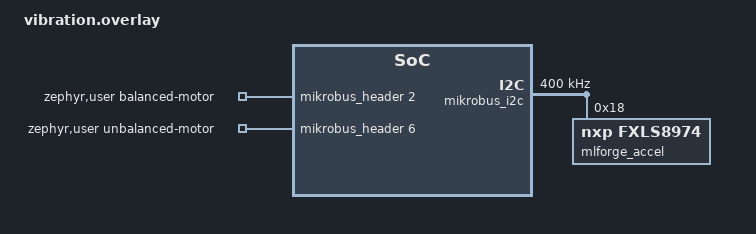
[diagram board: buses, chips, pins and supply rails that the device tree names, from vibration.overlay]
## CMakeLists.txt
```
# ZephyrMLForge TFLite Micro Application
# Based on TensorFlow Lite Micro hello_world sample structure
#
# The pipeline copies this tree per run and overwrites src/model.cpp, src/model.hpp
# and src/app_config.h. Nothing else differs between a pipeline build and a manual
# one, so a failure here reproduces with a plain west build.

cmake_minimum_required(VERSION 3.20.0)

find_package(Zephyr REQUIRED HINTS $ENV{ZEPHYR_BASE})
project(zephyr_ml_forge)

# TFLite Micro uses function-local statics that Zephyr cannot guard.
set(NO_THREADSAFE_STATICS $<TARGET_PROPERTY:compiler-cpp,no_threadsafe_statics>)
zephyr_compile_options($<$<COMPILE_LANGUAGE:CXX>:${NO_THREADSAFE_STATICS}>)

# Structure mirrors the TFLite Micro hello_world sample:
#   - main.c: Minimal entry point
#   - main_functions.cpp: Interpreter setup, benchmark and host request handling
#   - model.cpp: Compiled model data (generated from .tflite)
#   - output_handler.cpp: Metrics output for pipeline parsing
#   - vibration.cpp:  ML Vibro Sens Click support, empty unless
#     MLFORGE_VIBRATION is 1
target_sources(app PRIVATE
    src/main.c
    src/main_functions.cpp
    src/model.cpp
    src/output_handler.cpp
    src/vibration.cpp
)

target_include_directories(app PRIVATE
    src
)
```

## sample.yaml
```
sample:
  description: ZephyrMLForge TFLite Micro Inference Application
  name: zephyr-ml-forge inference
common:
  tags: tensorflow ml-forge
  modules:
    - tflite-micro
  harness: console
  harness_config:
    type: multi_line
    ordered: true
    regex:
      - "=== ZephyrMLForge inference ==="
      - "STATUS=ready"
      - "METRICS_START"
      - "latency_ms=.*"
      - "arena_used=.*"
      - "METRICS_END"
      - "Inference complete"
tests:
  sample.mlforge.inference:
    platform_allow:
      - qemu_x86
      - qemu_x86_64
    integration_platforms:
      - qemu_x86
    tags: tensorflow ml-forge
    filter: CONFIG_FULL_LIBC_SUPPORTED
  sample.mlforge.inference.cortex_m3:
    platform_allow:
      - qemu_cortex_m3
    tags: tensorflow ml-forge arm
    extra_configs:
      - CONFIG_FPU=n
```

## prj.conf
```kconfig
# ZephyrMLForge application configuration
# Single file: the application has no non-TFLite build, so there is no overlay.

# C++ support required by TFLite Micro
CONFIG_CPP=y
CONFIG_STD_CPP17=y
CONFIG_REQUIRES_FULL_LIBC=y

CONFIG_TENSORFLOW_LITE_MICRO=y

# ARM-optimized kernels. Convolution through the reference kernels is several times
# slower, which turns a usable model into one that breaches its latency budget.
CONFIG_TENSORFLOW_LITE_MICRO_CMSIS_NN_KERNELS=y

# Interpreter setup needs a deeper stack than the Zephyr default
CONFIG_MAIN_STACK_SIZE=8192
CONFIG_HEAP_MEM_POOL_SIZE=32768

# Console output parsed by the pipeline
CONFIG_CONSOLE=y
CONFIG_UART_CONSOLE=y
CONFIG_SERIAL=y
CONFIG_PRINTK=y

# Both are needed: REQUIRES_FLOAT_PRINTF covers the libc printf, while printk goes
# through cbprintf, which prints every %f as 0.000000 without its own switch.
CONFIG_REQUIRES_FLOAT_PRINTF=y
CONFIG_CBPRINTF_FP_SUPPORT=y

# console_getline() for the host evaluation protocol; the getline path is
# interrupt-driven and silently returns nothing without the UART IRQ support.
CONFIG_CONSOLE_SUBSYS=y
CONFIG_CONSOLE_GETLINE=y
CONFIG_UART_INTERRUPT_DRIVEN=y

#  Lines past 255 characters wrap whatever this is set to, because
# uart_console.c indexes the line with a uint8_t, so the host sends long inputs as LOAD
# lines below that length. 256 holds the longest line it sends.
CONFIG_CONSOLE_INPUT_MAX_LINE_LEN=256

# timing_counter_get() for the latency measurement
CONFIG_TIMING_FUNCTIONS=y

# The NXP Neutron blobs are compiled hard-float, and linking them against a
# soft-float image fails with 'uses VFP register arguments'. Enabled for every build
# rather than only the NPU one, so that a CPU and an NPU measurement differ by the
# accelerator alone. Boards without an FPU ignore it.
CONFIG_FPU=y
```

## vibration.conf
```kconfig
#  ML Vibro Sens Click support, added to prj.conf with vibration.overlay.
# The FXLS8974 driver is enabled by the overlay's devicetree node.
CONFIG_GPIO=y
CONFIG_I2C=y
CONFIG_SENSOR=y
```

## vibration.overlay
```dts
/*
 * Copyright (c) 2024 ZephyrMLForge
 * SPDX-License-Identifier: Apache-2.0
 *
 *  ML Vibro Sens Click on the mikroBUS socket of an FRDM-MCXN947. Pin
 * numbers follow the board's mikrobus_header map: 2 is CS, 6 is PWM.
 */

/ {
	zephyr,user {
		balanced-motor-gpios = <&mikrobus_header 2 GPIO_ACTIVE_HIGH>;
		unbalanced-motor-gpios = <&mikrobus_header 6 GPIO_ACTIVE_HIGH>;
	};
};

&mikrobus_i2c {
	status = "okay";
	/*  Each sample is two transfers; at the board's default 100 kHz they
	 * take about a millisecond, the whole period at 1 kHz. */
	clock-frequency = <I2C_BITRATE_FAST>;

	mlforge_accel: fxls8974@18 {
		compatible = "nxp,fxls8974";
		reg = <0x18>;
		/*  At +-2 g about a tenth of the unbalanced motor's samples clip.
		 * The driver ignores this property; vibration.cpp applies it. */
		range = <8>;
	};
};

/*  SAI1 muxes P3_19, the mikroBUS PWM pin, as SAI1_RX_FS, which would
 * leave the unbalanced motor unreachable. This application uses no audio. */
&sai1 {
	status = "disabled";
};
```

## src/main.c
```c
/*
 * Copyright (c) 2024 ZephyrMLForge
 * SPDX-License-Identifier: Apache-2.0
 *
 * Minimal main entry point for TFLite Micro inference.
 * Based on TensorFlow Lite Micro hello_world sample structure.
 */

#include "app_config.h"
#include "main_functions.h"

int main(void)
{
	setup();
	run_benchmark();

#if MLFORGE_INTERACTIVE
	while (1) {
		serve_request();
	}
#endif

	return 0;
}
```

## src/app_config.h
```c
/*
 * Copyright (c) 2024 ZephyrMLForge
 * SPDX-License-Identifier: Apache-2.0
 *
 * Build-time tunables for the inference application.
 */

#ifndef ZEPHYR_ML_FORGE_APP_CONFIG_H_
#define ZEPHYR_ML_FORGE_APP_CONFIG_H_

/* The pipeline rewrites this file in its copy of the tree from
 * hardware.tensor_arena_kb and execution_environment.benchmark_runs. The values
 * below are defaults that keep this tree buildable on its own. */

/* Must exceed the arena the model actually needs, or AllocateTensors() fails. */
#define MLFORGE_TENSOR_ARENA_SIZE 8192

/* Inferences averaged for the reported latency. */
#define MLFORGE_BENCHMARK_RUNS 100

/* 1 serves host evaluation requests after the benchmark; 0 halts instead.
 * QEMU builds set 0 because the runner has no channel to the guest console. */
#define MLFORGE_INTERACTIVE 1

/* 1 registers the NeutronGraph operator, so a model compiled by neutron_compiler
 * runs on the NPU. Requires CONFIG_TFLM_NXP_NEUTRON=y and a board that has one. */
#define MLFORGE_NEUTRON 0

/*  1 adds the MOTOR, WINDOW & CLASSIFY commands for the ML Vibro Sens
 * Click. Requires vibration.overlay & vibration.conf in the build. Guarded so that
 * apps/vibration_guess, which compiles vibration.cpp from here, can set its own. */
#ifndef MLFORGE_VIBRATION
#define MLFORGE_VIBRATION 0
#endif

/*  Accelerometer samples per window & their rate; a model trained on
 * recordings from one setting misreads windows taken at another. */
#ifndef MLFORGE_WINDOW_SAMPLES
#define MLFORGE_WINDOW_SAMPLES 128
#endif
#ifndef MLFORGE_SAMPLE_RATE_HZ
#define MLFORGE_SAMPLE_RATE_HZ 1000
#endif

#endif /* ZEPHYR_ML_FORGE_APP_CONFIG_H_ */
```

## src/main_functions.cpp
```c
/*
 * Copyright (c) 2024 ZephyrMLForge
 * SPDX-License-Identifier: Apache-2.0
 *
 * TFLite Micro inference implementation.
 * Based on TensorFlow Lite Micro hello_world sample structure.
 */

#include "app_config.h"
#include "main_functions.h"
#include "model.hpp"
#include "output_handler.hpp"

#include <zephyr/kernel.h>
#include <zephyr/sys/printk.h>
#include <zephyr/timing/timing.h>

#if MLFORGE_INTERACTIVE
#include <zephyr/console/console.h>
#endif

#include <cerrno>
#include <cmath>
#include <cstdlib>
#include <cstring>

#include <tensorflow/lite/micro/micro_interpreter.h>
#include <tensorflow/lite/micro/micro_mutable_op_resolver.h>
#include <tensorflow/lite/micro/system_setup.h>
#include <tensorflow/lite/schema/schema_generated.h>

#if MLFORGE_NEUTRON
#include <tensorflow/lite/micro/kernels/neutron/neutron.h>
#endif

#if MLFORGE_VIBRATION
#include "vibration.h"
#endif

namespace {

const tflite::Model *model = nullptr;
tflite::MicroInterpreter *interpreter = nullptr;
TfLiteTensor *input = nullptr;
TfLiteTensor *output = nullptr;
bool is_ready = false;
int inputs_loaded_since_invoke = 0;

#if MLFORGE_VIBRATION
bool is_sensor_ready = false;
#endif

alignas(16) uint8_t tensor_arena[MLFORGE_TENSOR_ARENA_SIZE];

/* One INFER reply is built on the stack, so the width is capped. */
constexpr int kMaxReportedOutputs = 16;

/* Constant benchmark input: the value does not affect timing. */
constexpr float kBenchmarkInput = 0.5f;

/**
 * @brief Elements in one sample: every dimension but the leading batch of one.
 *
 * Taking only the trailing dimension would report 1 for an image of (1, 28, 28, 1).
 *
 * @param tensor  An input or output tensor of the interpreter.
 * @return The element count, or 0 for a tensor with no dimensions.
 */
int element_count(const TfLiteTensor *tensor)
{
	if (tensor->dims->size <= 1) {
		return tensor->dims->size == 1 ? tensor->dims->data[0] : 0;
	}

	int count = 1;

	for (int i = 1; i < tensor->dims->size; i++) {
		count *= tensor->dims->data[i];
	}

	return count;
}

/**
 * @brief Write one input element, quantizing it when the input tensor is int8.
 * @param index  Element below element_count(input).
 * @param value  Value in the model's input units.
 */
void write_input(int index, float value)
{
	if (input->type == kTfLiteInt8) {
		/* Rounded, not truncated: TFLite quantizes to nearest, and truncating
		 * biases every input one step toward zero. Measured against the host
		 * interpreter, that moved a prediction by a whole quantization step. */
		float scaled = roundf(value / input->params.scale + input->params.zero_point);

		/* Saturate: a host sending outside the calibrated range would
		 * otherwise wrap and produce a plausible but wrong prediction. */
		if (scaled > 127.0f) {
			scaled = 127.0f;
		} else if (scaled < -128.0f) {
			scaled = -128.0f;
		}
		input->data.int8[index] = static_cast<int8_t>(scaled);
	} else {
		input->data.f[index] = value;
	}
}

/**
 * @brief Read one output element, dequantized when the output tensor is int8.
 * @param index  Element below element_count(output).
 * @return The element's value.
 */
float read_output(int index)
{
	if (output->type == kTfLiteInt8) {
		return (output->data.int8[index] - output->params.zero_point) *
		       output->params.scale;
	}
	return output->data.f[index];
}

}  /* namespace */

void setup(void)
{
	/* USB CDC re-enumerates after the reset that follows flashing; without this
	 * delay the banner and STATUS line are transmitted into a closed port. */
	k_msleep(500);

	tflite::InitializeTarget();

	printk("\n=== ZephyrMLForge inference ===\n");
	printk("model_bytes=%u\n", g_model_len);

#if MLFORGE_VIBRATION
	/*  Not fatal: inference still runs, & the vibration commands answer
	 * ERR=sensor_not_ready with the cause printed here. */
	is_sensor_ready = vibration_init() == 0;
#endif

	model = tflite::GetModel(g_model);
	if (model->version() != TFLITE_SCHEMA_VERSION) {
		printk("STATUS=error reason=schema_version got=%u want=%u\n",
		       static_cast<unsigned int>(model->version()),
		       static_cast<unsigned int>(TFLITE_SCHEMA_VERSION));
		return;
	}

	/* Every op the agent is permitted to propose. Adding one here without
	 * widening the prompt in agents/base.py hard-faults the board instead. */
	static tflite::MicroMutableOpResolver<24> resolver;
	resolver.AddFullyConnected();
	resolver.AddRelu();
	resolver.AddRelu6();
	resolver.AddSoftmax();
	resolver.AddReshape();
	resolver.AddQuantize();
	resolver.AddDequantize();
	resolver.AddLogistic();

	/* Convolutional models, for the image datasets. */
	resolver.AddConv2D();
	resolver.AddDepthwiseConv2D();
	resolver.AddMaxPool2D();
	resolver.AddAveragePool2D();
	resolver.AddMean();
	resolver.AddPad();
	/*  neutron_converter 3.0.1 emits PADV2 for padding it leaves on the
	 * CPU; without it a compiled convolutional model fails AllocateTensors(). */
	resolver.AddPadV2();
	resolver.AddAdd();

	/* Emitted by the converter rather than chosen by the agent: a Keras Flatten
	 * becomes a dynamic reshape, which reads its target shape at run time. */
	resolver.AddShape();
	resolver.AddStridedSlice();
	resolver.AddPack();
	resolver.AddSlice();

#if MLFORGE_NEUTRON
	/* neutron_compiler folds the operators the NPU can run into this one custom
	 * operator; whatever it could not map stays on the CPU above. */
	resolver.AddCustom(tflite::GetString_NEUTRON_GRAPH(), tflite::Register_NEUTRON_GRAPH());
	printk("accelerator=neutron\n");
#else
	printk("accelerator=cpu\n");
#endif

	static tflite::MicroInterpreter static_interpreter(
		model, resolver, tensor_arena, MLFORGE_TENSOR_ARENA_SIZE);
	interpreter = &static_interpreter;

	if (interpreter->AllocateTensors() != kTfLiteOk) {
		printk("STATUS=error reason=allocate_tensors arena_size=%d\n",
		       MLFORGE_TENSOR_ARENA_SIZE);
		return;
	}

	input = interpreter->input(0);
	output = interpreter->output(0);

#if MLFORGE_INTERACTIVE
	console_getline_init();
#endif

	is_ready = true;
	printk("input_count=%d output_count=%d\n", element_count(input),
	       element_count(output));

	/* Worth printing: a scale of zero means the converter left the tensor
	 * unquantized, and every prediction then collapses to the zero point. */
	printk("input_quant scale=%.8f zero_point=%d\n",
	       static_cast<double>(input->params.scale), input->params.zero_point);
	printk("output_quant scale=%.8f zero_point=%d\n",
	       static_cast<double>(output->params.scale), output->params.zero_point);

	printk("STATUS=ready\n");
}

void run_benchmark(void)
{
	if (!is_ready) {
		return;
	}

	const int input_count = element_count(input);

	timing_init();
	timing_start();

	/* Timed per run, with the input written outside the window. The input must be
	 * rewritten every pass - the memory planner may overlay its buffer with an
	 * intermediate tensor - but writing 784 quantized values costs more than the
	 * inference itself, so it must not be inside the measurement. Accumulated in
	 * 64 bits, so a long benchmark cannot wrap the 32-bit counter. */
	uint64_t total_cycles = 0;
	uint64_t total_ticks = 0;

	for (int run = 0; run < MLFORGE_BENCHMARK_RUNS; run++) {
		for (int i = 0; i < input_count; i++) {
			write_input(i, kBenchmarkInput);
		}

		uint32_t start_ticks = k_cycle_get_32();
		timing_t start_time = timing_counter_get();

		TfLiteStatus status = interpreter->Invoke();

		timing_t end_time = timing_counter_get();
		total_ticks += k_cycle_get_32() - start_ticks;
		total_cycles += timing_cycles_get(&start_time, &end_time);

		if (status != kTfLiteOk) {
			timing_stop();
			printk("STATUS=error reason=invoke run=%d\n", run);
			return;
		}
	}

	timing_stop();

	uint64_t total_ns = timing_cycles_to_ns(total_cycles);

	/* QEMU's Cortex-M3 implements no DWT cycle counter, so the timing subsystem
	 * reports zero there while the kernel counter still advances. Reporting the
	 * zero would look like a free inference to the host. */
	if (total_ns == 0) {
		total_ns = k_cyc_to_ns_floor64(total_ticks);
	}

	uint64_t average_ns = total_ns / MLFORGE_BENCHMARK_RUNS;

	ReportMetrics(average_ns, interpreter->arena_used_bytes(), MLFORGE_BENCHMARK_RUNS,
		      read_output(0));
}

#if MLFORGE_INTERACTIVE

namespace {

/**
 * @brief Write comma-separated values into the input tensor.
 * @param cursor  The values, ending at the end of the line.
 * @param first   Input element the first value goes to.
 * @param limit   Element at which writing stops, whatever is left of the line.
 * @return The count written, or -1 when no value could be read.
 */
int parse_inputs(const char *cursor, int first, int limit)
{
	int index = first;

	while (*cursor == ',' || *cursor == ' ') {
		cursor++;
	}

	while (index < limit && *cursor != '\0') {
		char *next = nullptr;
		const float value = strtof(cursor, &next);

		if (next == cursor) {
			return -1;
		}

		write_input(index++, value);
		cursor = next;
		while (*cursor == ',' || *cursor == ' ') {
			cursor++;
		}
	}

	return index == first ? -1 : index - first;
}

/**
 * @brief Run the model & print its first kMaxReportedOutputs outputs as an OUT= line,
 *        or ERR=invoke.
 */
void invoke_and_report(void)
{
	if (interpreter->Invoke() != kTfLiteOk) {
		printk("ERR=invoke\n");
		return;
	}

	const int output_count = element_count(output);
	const int reported = output_count < kMaxReportedOutputs ? output_count
							        : kMaxReportedOutputs;
	float values[kMaxReportedOutputs];

	for (int i = 0; i < reported; i++) {
		values[i] = read_output(i);
	}

	ReportInference(values, reported);
}

#if MLFORGE_VIBRATION

float window[MLFORGE_VIBRATION_VALUES];

/**
 * @brief Record a window into window.
 * @param[out] elapsed_us  Duration of the capture.
 * @return false, with the error already printed, when no window could be taken at
 *         the configured rate.
 */
bool capture_window(uint32_t *elapsed_us)
{
	const int ret = vibration_capture(window, elapsed_us);

	if (ret == -ETIME) {
		printk("ERR=sample_overrun rate_hz=%d\n", MLFORGE_SAMPLE_RATE_HZ);
		return false;
	}
	if (ret != 0) {
		printk("ERR=accel_read err=%d\n", ret);
		return false;
	}
	return true;
}

/**
 * @brief Answer a MOTOR <state>, WINDOW or CLASSIFY command.
 * @param line  The command line, starting with its command word.
 */
void serve_vibration_request(const char *line)
{
	if (!is_sensor_ready) {
		printk("ERR=sensor_not_ready\n");
		return;
	}

	if (strncmp(line, "MOTOR", 5) == 0) {
		char *end = nullptr;
		const long state = strtol(line + 5, &end, 10);

		if (end == line + 5 || !vibration_set_motors(static_cast<int>(state))) {
			printk("ERR=motor_state\n");
			return;
		}
		printk("OK\n");
		return;
	}

	uint32_t elapsed_us = 0;

	if (strncmp(line, "WINDOW", 6) == 0) {
		if (!capture_window(&elapsed_us)) {
			return;
		}

		/*  Three decimals in m/s^2 is finer than the sensor's 0.038
		 * m/s^2 step at +-8 g, & keeps a window to about 3 kB, a quarter of a
		 * second at 115200 baud. */
		printk("WINDOW us=%u v=", elapsed_us);
		for (int i = 0; i < MLFORGE_VIBRATION_VALUES; i++) {
			printk("%s%.3f", i == 0 ? "" : ",", static_cast<double>(window[i]));
		}
		printk("\n");
		return;
	}

	if (!is_ready) {
		printk("ERR=not_ready\n");
		return;
	}
	if (element_count(input) != MLFORGE_VIBRATION_VALUES) {
		printk("ERR=expected_inputs=%d window_values=%d\n", element_count(input),
		       MLFORGE_VIBRATION_VALUES);
		return;
	}
	if (!capture_window(&elapsed_us)) {
		return;
	}

	for (int i = 0; i < MLFORGE_VIBRATION_VALUES; i++) {
		write_input(i, window[i]);
	}
	invoke_and_report();
}

#endif /* MLFORGE_VIBRATION */

}  /* namespace */

void serve_request(void)
{
	char *line = console_getline();

	if (line == nullptr) {
		return;
	}

	while (*line == ' ') {
		line++;
	}

	if (strncmp(line, "PING", 4) == 0) {
		printk("PONG\n");
		return;
	}

	/* Re-runs the measurement on demand. The block printed at boot is easy for the
	 * host to miss, because the port is still enumerating when it is sent. */
	if (strncmp(line, "BENCH", 5) == 0) {
		run_benchmark();
		return;
	}

#if MLFORGE_VIBRATION
	if (strncmp(line, "MOTOR", 5) == 0 || strncmp(line, "WINDOW", 6) == 0 ||
	    strncmp(line, "CLASSIFY", 8) == 0) {
		serve_vibration_request(line);
		return;
	}
#endif

	/*  LOAD writes inputs from an offset & INVOKE runs on them, because
	 * uart_console.c tracks its line position in a uint8_t: a line past 255 characters
	 * wraps, & INFER then reaches here without its command word. */
	const bool is_infer = strncmp(line, "INFER", 5) == 0;
	const bool is_load = strncmp(line, "LOAD", 4) == 0;
	const bool is_invoke = strncmp(line, "INVOKE", 6) == 0;

	if (!is_infer && !is_load && !is_invoke) {
		printk("ERR=unknown_command\n");
		return;
	}

	if (!is_ready) {
		printk("ERR=not_ready\n");
		return;
	}

	if (is_invoke) {
		const int loaded = inputs_loaded_since_invoke;

		inputs_loaded_since_invoke = 0;
		if (loaded != element_count(input)) {
			printk("ERR=incomplete_inputs loaded=%d inputs=%d\n", loaded,
			       element_count(input));
			return;
		}
		invoke_and_report();
		return;
	}

	const int input_count = element_count(input);
	const char *cursor = line + (is_infer ? 5 : 4);
	int first = 0;

	if (is_load) {
		char *next = nullptr;

		first = static_cast<int>(strtol(cursor, &next, 10));
		if (first == 0) {
			inputs_loaded_since_invoke = 0;
		}
		if (next == cursor || first != inputs_loaded_since_invoke ||
		    first >= input_count) {
			printk("ERR=load_offset=%d expected=%d inputs=%d\n", first,
			       inputs_loaded_since_invoke, input_count);
			return;
		}
		cursor = next;
	}

	int written = parse_inputs(cursor, first, input_count);

	if (written < 0) {
		printk("ERR=expected_inputs=%d\n", input_count);
		return;
	}

	if (is_load) {
		inputs_loaded_since_invoke += written;
		printk("OK loaded=%d\n", written);
		return;
	}

	if (written != input_count) {
		printk("ERR=expected_inputs=%d\n", input_count);
		return;
	}

	invoke_and_report();
}

#else

void serve_request(void)
{
}

#endif /* MLFORGE_INTERACTIVE */
```

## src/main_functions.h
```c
/*
 * Copyright (c) 2024 ZephyrMLForge
 * SPDX-License-Identifier: Apache-2.0
 *
 * Main function declarations for TFLite Micro inference.
 * Based on TensorFlow Lite Micro hello_world sample structure.
 */

#ifndef ZEPHYR_ML_FORGE_MAIN_FUNCTIONS_H_
#define ZEPHYR_ML_FORGE_MAIN_FUNCTIONS_H_

#ifdef __cplusplus
extern "C" {
#endif

/**
 * @brief Initialize the interpreter & print 'STATUS=ready' or 'STATUS=error'.
 *
 * Every later entry point is a no-op once setup has failed.
 */
void setup(void);

/**
 * @brief Time MLFORGE_BENCHMARK_RUNS inferences & print one METRICS block.
 */
void run_benchmark(void);

/**
 * @brief Read one command line from the console & answer it.
 *
 * Blocks until a line arrives. Commands: PING, BENCH, INFER, LOAD & INVOKE, plus
 * MOTOR, WINDOW & CLASSIFY in a vibration build.
 */
void serve_request(void);

#ifdef __cplusplus
}
#endif

#endif /* ZEPHYR_ML_FORGE_MAIN_FUNCTIONS_H_ */
```

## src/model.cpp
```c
/*
 * Copyright 2020 The TensorFlow Authors. All Rights Reserved.
 *
 * Licensed under the Apache License, Version 2.0 (the "License");
 * you may not use this file except in compliance with the License.
 * You may obtain a copy of the License at
 *
 *     http://www.apache.org/licenses/LICENSE-2.0
 *
 * Unless required by applicable law or agreed to in writing, software
 * distributed under the License is distributed on an "AS IS" BASIS,
 * WITHOUT WARRANTIES OR CONDITIONS OF ANY KIND, either express or implied.
 * See the License for the specific language governing permissions and
 * limitations under the License.
 */

/* Automatically created from a TensorFlow Lite flatbuffer using the command:
 * xxd -i model.tflite > model.cc
 *
 * This is a standard TensorFlow Lite model file that has been converted into a
 * C data array, so it can be easily compiled into a binary for devices that
 * don't have a file system.
 *
 * See train/README.md for a full description of the creation process.
 */

#include "model.hpp"

/* Keep model aligned to 8 bytes to guarantee aligned 64-bit accesses. */
alignas(8) const unsigned char g_model[] = {
	0x1c, 0x00, 0x00, 0x00, 0x54, 0x46, 0x4c, 0x33, 0x14, 0x00, 0x20, 0x00,
	0x1c, 0x00, 0x18, 0x00, 0x14, 0x00, 0x10, 0x00, 0x0c, 0x00, 0x00, 0x00,
	0x08, 0x00, 0x04, 0x00, 0x14, 0x00, 0x00, 0x00, 0x1c, 0x00, 0x00, 0x00,
	0x98, 0x00, 0x00, 0x00, 0xc8, 0x00, 0x00, 0x00, 0x1c, 0x03, 0x00, 0x00,
	0x2c, 0x03, 0x00, 0x00, 0x30, 0x09, 0x00, 0x00, 0x03, 0x00, 0x00, 0x00,
	0x01, 0x00, 0x00, 0x00, 0x04, 0x00, 0x00, 0x00, 0x60, 0xf7, 0xff, 0xff,
	0x10, 0x00, 0x00, 0x00, 0x18, 0x00, 0x00, 0x00, 0x28, 0x00, 0x00, 0x00,
	0x44, 0x00, 0x00, 0x00, 0x05, 0x00, 0x00, 0x00, 0x73, 0x65, 0x72, 0x76,
	0x65, 0x00, 0x00, 0x00, 0x0f, 0x00, 0x00, 0x00, 0x73, 0x65, 0x72, 0x76,
	0x69, 0x6e, 0x67, 0x5f, 0x64, 0x65, 0x66, 0x61, 0x75, 0x6c, 0x74, 0x00,
	0x01, 0x00, 0x00, 0x00, 0x04, 0x00, 0x00, 0x00, 0xbc, 0xff, 0xff, 0xff,
	0x09, 0x00, 0x00, 0x00, 0x04, 0x00, 0x00, 0x00, 0x07, 0x00, 0x00, 0x00,
	0x64, 0x65, 0x6e, 0x73, 0x65, 0x5f, 0x34, 0x00, 0x01, 0x00, 0x00, 0x00,
	0x04, 0x00, 0x00, 0x00, 0x76, 0xfd, 0xff, 0xff, 0x04, 0x00, 0x00, 0x00,
	0x0d, 0x00, 0x00, 0x00, 0x64, 0x65, 0x6e, 0x73, 0x65, 0x5f, 0x32, 0x5f,
	0x69, 0x6e, 0x70, 0x75, 0x74, 0x00, 0x00, 0x00, 0x01, 0x00, 0x00, 0x00,
	0x0c, 0x00, 0x00, 0x00, 0x08, 0x00, 0x0c, 0x00, 0x08, 0x00, 0x04, 0x00,
	0x08, 0x00, 0x00, 0x00, 0x0b, 0x00, 0x00, 0x00, 0x04, 0x00, 0x00, 0x00,
	0x13, 0x00, 0x00, 0x00, 0x6d, 0x69, 0x6e, 0x5f, 0x72, 0x75, 0x6e, 0x74,
	0x69, 0x6d, 0x65, 0x5f, 0x76, 0x65, 0x72, 0x73, 0x69, 0x6f, 0x6e, 0x00,
	0x0c, 0x00, 0x00, 0x00, 0x50, 0x02, 0x00, 0x00, 0x48, 0x02, 0x00, 0x00,
	0x34, 0x02, 0x00, 0x00, 0xdc, 0x01, 0x00, 0x00, 0x8c, 0x01, 0x00, 0x00,
	0x6c, 0x01, 0x00, 0x00, 0x5c, 0x00, 0x00, 0x00, 0x3c, 0x00, 0x00, 0x00,
	0x34, 0x00, 0x00, 0x00, 0x2c, 0x00, 0x00, 0x00, 0x24, 0x00, 0x00, 0x00,
	0x04, 0x00, 0x00, 0x00, 0xfa, 0xfd, 0xff, 0xff, 0x04, 0x00, 0x00, 0x00,
	0x10, 0x00, 0x00, 0x00, 0x31, 0x2e, 0x35, 0x2e, 0x30, 0x00, 0x00, 0x00,
	0x00, 0x00, 0x00, 0x00, 0x00, 0x00, 0x00, 0x00, 0x84, 0xfd, 0xff, 0xff,
	0x88, 0xfd, 0xff, 0xff, 0x8c, 0xfd, 0xff, 0xff, 0x22, 0xfe, 0xff, 0xff,
	0x04, 0x00, 0x00, 0x00, 0x10, 0x00, 0x00, 0x00, 0x21, 0xa5, 0x8b, 0xca,
	0x5e, 0x1d, 0xce, 0x42, 0x9d, 0xce, 0x1f, 0xb0, 0xdf, 0x54, 0x2f, 0x81,
	0x3e, 0xfe, 0xff, 0xff, 0x04, 0x00, 0x00, 0x00, 0x00, 0x01, 0x00, 0x00,
	0xee, 0xfc, 0x00, 0xec, 0x05, 0x17, 0xef, 0xec, 0xe6, 0xf8, 0x03, 0x01,
	0x00, 0xfa, 0xf8, 0xf5, 0xdc, 0xeb, 0x27, 0x14, 0xf1, 0xde, 0xe2, 0xdb,
	0xf0, 0xde, 0x31, 0x06, 0x02, 0xe6, 0xee, 0xf9, 0x00, 0x16, 0x07, 0xe0,
	0xfe, 0xff, 0xe9, 0x06, 0xe7, 0xef, 0x81, 0x1b, 0x18, 0xea, 0xc9, 0x01,
	0x0f, 0x00, 0xda, 0xf7, 0x0e, 0xec, 0x13, 0x1f, 0x04, 0x13, 0xb4, 0xe6,
	0xfd, 0x06, 0xb9, 0xe0, 0x0d, 0xec, 0xf0, 0xde, 0xeb, 0xf7, 0x05, 0x26,
	0x1a, 0xe4, 0x6f, 0x1a, 0xea, 0x1e, 0x35, 0xdf, 0x1a, 0xf3, 0xf1, 0x19,
	0x0f, 0x03, 0x1b, 0xe1, 0xde, 0x13, 0xf6, 0x19, 0xff, 0xf6, 0x1b, 0x18,
	0xf0, 0x1c, 0xda, 0x1b, 0x1b, 0x20, 0xe5, 0x1a, 0xf5, 0xff, 0x96, 0x0b,
	0x00, 0x01, 0xcd, 0xde, 0x0d, 0xf6, 0x16, 0xe3, 0xed, 0xfc, 0x0e, 0xe9,
	0xfa, 0xeb, 0x5c, 0xfc, 0x1d, 0x02, 0x5b, 0xe2, 0xe1, 0xf5, 0x15, 0xec,
	0xf4, 0x00, 0x13, 0x05, 0xec, 0x0c, 0x1d, 0x14, 0x0e, 0xe7, 0x0b, 0xf4,
	0x19, 0x00, 0xd7, 0x05, 0x27, 0x02, 0x15, 0xea, 0xea, 0x02, 0x9b, 0x00,
	0x0c, 0xfa, 0xe8, 0xea, 0xfd, 0x00, 0x14, 0xfd, 0x0b, 0x02, 0xef, 0xee,
	0x06, 0xee, 0x01, 0x0d, 0x06, 0xe6, 0xf7, 0x11, 0xf7, 0x09, 0xf8, 0xf1,
	0x21, 0xff, 0x0e, 0xf3, 0xec, 0x12, 0x26, 0x1d, 0xf2, 0xe9, 0x28, 0x18,
	0xe0, 0xfb, 0xf3, 0xf4, 0x05, 0x1d, 0x1d, 0xfb, 0xfd, 0x1e, 0xfc, 0x11,
	0xe8, 0x07, 0x09, 0x03, 0x12, 0xf2, 0x36, 0xfb, 0xdc, 0x1c, 0xf9, 0xef,
	0xf3, 0xe7, 0x6f, 0x0c, 0x1d, 0x00, 0x45, 0xfd, 0x0e, 0xf0, 0x0b, 0x19,
	0x1a, 0xfa, 0xe0, 0x19, 0x1f, 0x13, 0x36, 0x1c, 0x12, 0xeb, 0x3b, 0x0c,
	0xb4, 0xcb, 0xe6, 0x13, 0xfa, 0xeb, 0xf1, 0x06, 0x1c, 0xfa, 0x18, 0xe5,
	0xeb, 0xcb, 0x0c, 0xf4, 0x4a, 0xff, 0xff, 0xff, 0x04, 0x00, 0x00, 0x00,
	0x10, 0x00, 0x00, 0x00, 0x75, 0x1c, 0x11, 0xe1, 0x0c, 0x81, 0xa5, 0x42,
	0xfe, 0xd5, 0xd4, 0xb2, 0x61, 0x78, 0x19, 0xdf, 0x66, 0xff, 0xff, 0xff,
	0x04, 0x00, 0x00, 0x00, 0x40, 0x00, 0x00, 0x00, 0x04, 0x00, 0x00, 0x00,
	0x77, 0x0b, 0x00, 0x00, 0x53, 0xf6, 0xff, 0xff, 0x00, 0x00, 0x00, 0x00,
	0x77, 0x0c, 0x00, 0x00, 0x00, 0x00, 0x00, 0x00, 0x00, 0x00, 0x00, 0x00,
	0xd3, 0x06, 0x00, 0x00, 0x00, 0x00, 0x00, 0x00, 0x00, 0x00, 0x00, 0x00,
	0x72, 0x21, 0x00, 0x00, 0x00, 0x00, 0x00, 0x00, 0x2f, 0x07, 0x00, 0x00,
	0x67, 0xf5, 0xff, 0xff, 0x34, 0xf0, 0xff, 0xff, 0x00, 0x00, 0x00, 0x00,
	0xb2, 0xff, 0xff, 0xff, 0x04, 0x00, 0x00, 0x00, 0x40, 0x00, 0x00, 0x00,
	0x00, 0x00, 0x00, 0x00, 0xb5, 0x04, 0x00, 0x00, 0x78, 0x0a, 0x00, 0x00,
	0x2d, 0x06, 0x00, 0x00, 0x71, 0xf8, 0xff, 0xff, 0x00, 0x00, 0x00, 0x00,
	0x9a, 0x0a, 0x00, 0x00, 0xfe, 0xf7, 0xff, 0xff, 0x0e, 0x05, 0x00, 0x00,
	0xd4, 0x09, 0x00, 0x00, 0x47, 0xfe, 0xff, 0xff, 0xb6, 0x04, 0x00, 0x00,
	0x00, 0x00, 0x00, 0x00, 0xac, 0xf7, 0xff, 0xff, 0x4b, 0xf9, 0xff, 0xff,
	0x4a, 0x05, 0x00, 0x00, 0x00, 0x00, 0x06, 0x00, 0x08, 0x00, 0x04, 0x00,
	0x06, 0x00, 0x00, 0x00, 0x04, 0x00, 0x00, 0x00, 0x04, 0x00, 0x00, 0x00,
	0x8c, 0xef, 0xff, 0xff, 0x84, 0xff, 0xff, 0xff, 0x88, 0xff, 0xff, 0xff,
	0x0f, 0x00, 0x00, 0x00, 0x4d, 0x4c, 0x49, 0x52, 0x20, 0x43, 0x6f, 0x6e,
	0x76, 0x65, 0x72, 0x74, 0x65, 0x64, 0x2e, 0x00, 0x01, 0x00, 0x00, 0x00,
	0x14, 0x00, 0x00, 0x00, 0x00, 0x00, 0x0e, 0x00, 0x18, 0x00, 0x14, 0x00,
	0x10, 0x00, 0x0c, 0x00, 0x08, 0x00, 0x04, 0x00, 0x0e, 0x00, 0x00, 0x00,
	0x14, 0x00, 0x00, 0x00, 0x1c, 0x00, 0x00, 0x00, 0xdc, 0x00, 0x00, 0x00,
	0xe0, 0x00, 0x00, 0x00, 0xe4, 0x00, 0x00, 0x00, 0x04, 0x00, 0x00, 0x00,
	0x6d, 0x61, 0x69, 0x6e, 0x00, 0x00, 0x00, 0x00, 0x03, 0x00, 0x00, 0x00,
	0x84, 0x00, 0x00, 0x00, 0x3c, 0x00, 0x00, 0x00, 0x04, 0x00, 0x00, 0x00,
	0x96, 0xff, 0xff, 0xff, 0x14, 0x00, 0x00, 0x00, 0x00, 0x00, 0x00, 0x08,
	0x10, 0x00, 0x00, 0x00, 0x14, 0x00, 0x00, 0x00, 0x04, 0x00, 0x04, 0x00,
	0x04, 0x00, 0x00, 0x00, 0x01, 0x00, 0x00, 0x00, 0x09, 0x00, 0x00, 0x00,
	0x03, 0x00, 0x00, 0x00, 0x08, 0x00, 0x00, 0x00, 0x06, 0x00, 0x00, 0x00,
	0x01, 0x00, 0x00, 0x00, 0xca, 0xff, 0xff, 0xff, 0x10, 0x00, 0x00, 0x00,
	0x00, 0x00, 0x00, 0x08, 0x10, 0x00, 0x00, 0x00, 0x14, 0x00, 0x00, 0x00,
	0xba, 0xff, 0xff, 0xff, 0x00, 0x00, 0x00, 0x01, 0x01, 0x00, 0x00, 0x00,
	0x08, 0x00, 0x00, 0x00, 0x03, 0x00, 0x00, 0x00, 0x07, 0x00, 0x00, 0x00,
	0x05, 0x00, 0x00, 0x00, 0x02, 0x00, 0x00, 0x00, 0x00, 0x00, 0x0e, 0x00,
	0x16, 0x00, 0x00, 0x00, 0x10, 0x00, 0x0c, 0x00, 0x0b, 0x00, 0x04, 0x00,
	0x0e, 0x00, 0x00, 0x00, 0x18, 0x00, 0x00, 0x00, 0x00, 0x00, 0x00, 0x08,
	0x18, 0x00, 0x00, 0x00, 0x1c, 0x00, 0x00, 0x00, 0x00, 0x00, 0x06, 0x00,
	0x08, 0x00, 0x07, 0x00, 0x06, 0x00, 0x00, 0x00, 0x00, 0x00, 0x00, 0x01,
	0x01, 0x00, 0x00, 0x00, 0x07, 0x00, 0x00, 0x00, 0x03, 0x00, 0x00, 0x00,
	0x00, 0x00, 0x00, 0x00, 0x04, 0x00, 0x00, 0x00, 0x03, 0x00, 0x00, 0x00,
	0x01, 0x00, 0x00, 0x00, 0x09, 0x00, 0x00, 0x00, 0x01, 0x00, 0x00, 0x00,
	0x00, 0x00, 0x00, 0x00, 0x0a, 0x00, 0x00, 0x00, 0x4c, 0x04, 0x00, 0x00,
	0xd0, 0x03, 0x00, 0x00, 0x68, 0x03, 0x00, 0x00, 0x0c, 0x03, 0x00, 0x00,
	0x98, 0x02, 0x00, 0x00, 0x24, 0x02, 0x00, 0x00, 0xb0, 0x01, 0x00, 0x00,
	0x24, 0x01, 0x00, 0x00, 0x98, 0x00, 0x00, 0x00, 0x04, 0x00, 0x00, 0x00,
	0xf0, 0xfb, 0xff, 0xff, 0x18, 0x00, 0x00, 0x00, 0x20, 0x00, 0x00, 0x00,
	0x54, 0x00, 0x00, 0x00, 0x0a, 0x00, 0x00, 0x00, 0x00, 0x00, 0x00, 0x09,
	0x6c, 0x00, 0x00, 0x00, 0x02, 0x00, 0x00, 0x00, 0xff, 0xff, 0xff, 0xff,
	0x01, 0x00, 0x00, 0x00, 0xdc, 0xfb, 0xff, 0xff, 0x10, 0x00, 0x00, 0x00,
	0x18, 0x00, 0x00, 0x00, 0x1c, 0x00, 0x00, 0x00, 0x20, 0x00, 0x00, 0x00,
	0x01, 0x00, 0x00, 0x00, 0x04, 0x00, 0x00, 0x00, 0x00, 0x00, 0x00, 0x00,
	0x01, 0x00, 0x00, 0x00, 0x4a, 0xce, 0x0a, 0x3c, 0x01, 0x00, 0x00, 0x00,
	0x34, 0x84, 0x85, 0x3f, 0x01, 0x00, 0x00, 0x00, 0xc5, 0x02, 0x8f, 0xbf,
	0x1e, 0x00, 0x00, 0x00, 0x53, 0x74, 0x61, 0x74, 0x65, 0x66, 0x75, 0x6c,
	0x50, 0x61, 0x72, 0x74, 0x69, 0x74, 0x69, 0x6f, 0x6e, 0x65, 0x64, 0x43,
	0x61, 0x6c, 0x6c, 0x3a, 0x30, 0x5f, 0x69, 0x6e, 0x74, 0x38, 0x00, 0x00,
	0x02, 0x00, 0x00, 0x00, 0x01, 0x00, 0x00, 0x00, 0x01, 0x00, 0x00, 0x00,
	0x80, 0xfc, 0xff, 0xff, 0x18, 0x00, 0x00, 0x00, 0x20, 0x00, 0x00, 0x00,
	0x54, 0x00, 0x00, 0x00, 0x09, 0x00, 0x00, 0x00, 0x00, 0x00, 0x00, 0x09,
	0x64, 0x00, 0x00, 0x00, 0x02, 0x00, 0x00, 0x00, 0xff, 0xff, 0xff, 0xff,
	0x10, 0x00, 0x00, 0x00, 0x6c, 0xfc, 0xff, 0xff, 0x10, 0x00, 0x00, 0x00,
	0x18, 0x00, 0x00, 0x00, 0x1c, 0x00, 0x00, 0x00, 0x20, 0x00, 0x00, 0x00,
	0x01, 0x00, 0x00, 0x00, 0x80, 0xff, 0xff, 0xff, 0xff, 0xff, 0xff, 0xff,
	0x01, 0x00, 0x00, 0x00, 0x93, 0xd0, 0xc0, 0x3b, 0x01, 0x00, 0x00, 0x00,
	0xc2, 0x0f, 0xc0, 0x3f, 0x01, 0x00, 0x00, 0x00, 0x00, 0x00, 0x00, 0x00,
	0x14, 0x00, 0x00, 0x00, 0x74, 0x66, 0x6c, 0x2e, 0x66, 0x75, 0x6c, 0x6c,
	0x79, 0x5f, 0x63, 0x6f, 0x6e, 0x6e, 0x65, 0x63, 0x74, 0x65, 0x64, 0x31,
	0x00, 0x00, 0x00, 0x00, 0x02, 0x00, 0x00, 0x00, 0x01, 0x00, 0x00, 0x00,
	0x10, 0x00, 0x00, 0x00, 0x08, 0xfd, 0xff, 0xff, 0x18, 0x00, 0x00, 0x00,
	0x20, 0x00, 0x00, 0x00, 0x58, 0x00, 0x00, 0x00, 0x08, 0x00, 0x00, 0x00,
	0x00, 0x00, 0x00, 0x09, 0x64, 0x00, 0x00, 0x00, 0x02, 0x00, 0x00, 0x00,
	0xff, 0xff, 0xff, 0xff, 0x10, 0x00, 0x00, 0x00, 0xf4, 0xfc, 0xff, 0xff,
	0x10, 0x00, 0x00, 0x00, 0x1c, 0x00, 0x00, 0x00, 0x20, 0x00, 0x00, 0x00,
	0x24, 0x00, 0x00, 0x00, 0x01, 0x00, 0x00, 0x00, 0x80, 0xff, 0xff, 0xff,
	0xff, 0xff, 0xff, 0xff, 0x00, 0x00, 0x00, 0x00, 0x01, 0x00, 0x00, 0x00,
	0xe0, 0xdb, 0x47, 0x3c, 0x01, 0x00, 0x00, 0x00, 0x04, 0x14, 0x47, 0x40,
	0x01, 0x00, 0x00, 0x00, 0x00, 0x00, 0x00, 0x00, 0x13, 0x00, 0x00, 0x00,
	0x74, 0x66, 0x6c, 0x2e, 0x66, 0x75, 0x6c, 0x6c, 0x79, 0x5f, 0x63, 0x6f,
	0x6e, 0x6e, 0x65, 0x63, 0x74, 0x65, 0x64, 0x00, 0x02, 0x00, 0x00, 0x00,
	0x01, 0x00, 0x00, 0x00, 0x10, 0x00, 0x00, 0x00, 0x02, 0xfe, 0xff, 0xff,
	0x14, 0x00, 0x00, 0x00, 0x48, 0x00, 0x00, 0x00, 0x07, 0x00, 0x00, 0x00,
	0x00, 0x00, 0x00, 0x09, 0x50, 0x00, 0x00, 0x00, 0x6c, 0xfd, 0xff, 0xff,
	0x10, 0x00, 0x00, 0x00, 0x18, 0x00, 0x00, 0x00, 0x1c, 0x00, 0x00, 0x00,
	0x20, 0x00, 0x00, 0x00, 0x01, 0x00, 0x00, 0x00, 0x00, 0x00, 0x00, 0x00,
	0x00, 0x00, 0x00, 0x00, 0x01, 0x00, 0x00, 0x00, 0xfb, 0x4b, 0x0b, 0x3c,
	0x01, 0x00, 0x00, 0x00, 0x40, 0x84, 0x4b, 0x3f, 0x01, 0x00, 0x00, 0x00,
	0x63, 0x35, 0x8a, 0xbf, 0x0d, 0x00, 0x00, 0x00, 0x73, 0x74, 0x64, 0x2e,
	0x63, 0x6f, 0x6e, 0x73, 0x74, 0x61, 0x6e, 0x74, 0x32, 0x00, 0x00, 0x00,
	0x02, 0x00, 0x00, 0x00, 0x01, 0x00, 0x00, 0x00, 0x10, 0x00, 0x00, 0x00,
	0x72, 0xfe, 0xff, 0xff, 0x14, 0x00, 0x00, 0x00, 0x48, 0x00, 0x00, 0x00,
	0x06, 0x00, 0x00, 0x00, 0x00, 0x00, 0x00, 0x09, 0x50, 0x00, 0x00, 0x00,
	0xdc, 0xfd, 0xff, 0xff, 0x10, 0x00, 0x00, 0x00, 0x18, 0x00, 0x00, 0x00,
	0x1c, 0x00, 0x00, 0x00, 0x20, 0x00, 0x00, 0x00, 0x01, 0x00, 0x00, 0x00,
	0x00, 0x00, 0x00, 0x00, 0x00, 0x00, 0x00, 0x00, 0x01, 0x00, 0x00, 0x00,
	0x60, 0x01, 0x4f, 0x3c, 0x01, 0x00, 0x00, 0x00, 0x47, 0x6d, 0xb3, 0x3f,
	0x01, 0x00, 0x00, 0x00, 0x5d, 0x63, 0xcd, 0xbf, 0x0d, 0x00, 0x00, 0x00,
	0x73, 0x74, 0x64, 0x2e, 0x63, 0x6f, 0x6e, 0x73, 0x74, 0x61, 0x6e, 0x74,
	0x31, 0x00, 0x00, 0x00, 0x02, 0x00, 0x00, 0x00, 0x10, 0x00, 0x00, 0x00,
	0x10, 0x00, 0x00, 0x00, 0xe2, 0xfe, 0xff, 0xff, 0x14, 0x00, 0x00, 0x00,
	0x48, 0x00, 0x00, 0x00, 0x05, 0x00, 0x00, 0x00, 0x00, 0x00, 0x00, 0x09,
	0x50, 0x00, 0x00, 0x00, 0x4c, 0xfe, 0xff, 0xff, 0x10, 0x00, 0x00, 0x00,
	0x18, 0x00, 0x00, 0x00, 0x1c, 0x00, 0x00, 0x00, 0x20, 0x00, 0x00, 0x00,
	0x01, 0x00, 0x00, 0x00, 0x00, 0x00, 0x00, 0x00, 0x00, 0x00, 0x00, 0x00,
	0x01, 0x00, 0x00, 0x00, 0xd5, 0x6b, 0x8a, 0x3b, 0x01, 0x00, 0x00, 0x00,
	0xab, 0x49, 0x01, 0x3f, 0x01, 0x00, 0x00, 0x00, 0xfd, 0x56, 0x09, 0xbf,
	0x0c, 0x00, 0x00, 0x00, 0x73, 0x74, 0x64, 0x2e, 0x63, 0x6f, 0x6e, 0x73,
	0x74, 0x61, 0x6e, 0x74, 0x00, 0x00, 0x00, 0x00, 0x02, 0x00, 0x00, 0x00,
	0x10, 0x00, 0x00, 0x00, 0x01, 0x00, 0x00, 0x00, 0x52, 0xff, 0xff, 0xff,
	0x14, 0x00, 0x00, 0x00, 0x34, 0x00, 0x00, 0x00, 0x04, 0x00, 0x00, 0x00,
	0x00, 0x00, 0x00, 0x02, 0x3c, 0x00, 0x00, 0x00, 0x44, 0xff, 0xff, 0xff,
	0x08, 0x00, 0x00, 0x00, 0x14, 0x00, 0x00, 0x00, 0x01, 0x00, 0x00, 0x00,
	0x00, 0x00, 0x00, 0x00, 0x00, 0x00, 0x00, 0x00, 0x00, 0x00, 0x00, 0x00,
	0x01, 0x00, 0x00, 0x00, 0x28, 0xb3, 0xd9, 0x38, 0x0c, 0x00, 0x00, 0x00,
	0x64, 0x65, 0x6e, 0x73, 0x65, 0x5f, 0x32, 0x2f, 0x62, 0x69, 0x61, 0x73,
	0x00, 0x00, 0x00, 0x00, 0x01, 0x00, 0x00, 0x00, 0x10, 0x00, 0x00, 0x00,
	0xaa, 0xff, 0xff, 0xff, 0x14, 0x00, 0x00, 0x00, 0x30, 0x00, 0x00, 0x00,
	0x03, 0x00, 0x00, 0x00, 0x00, 0x00, 0x00, 0x02, 0x38, 0x00, 0x00, 0x00,
	0x9c, 0xff, 0xff, 0xff, 0x08, 0x00, 0x00, 0x00, 0x10, 0x00, 0x00, 0x00,
	0x01, 0x00, 0x00, 0x00, 0x00, 0x00, 0x00, 0x00, 0x00, 0x00, 0x00, 0x00,
	0x01, 0x00, 0x00, 0x00, 0xdd, 0x9b, 0x21, 0x39, 0x0c, 0x00, 0x00, 0x00,
	0x64, 0x65, 0x6e, 0x73, 0x65, 0x5f, 0x33, 0x2f, 0x62, 0x69, 0x61, 0x73,
	0x00, 0x00, 0x00, 0x00, 0x01, 0x00, 0x00, 0x00, 0x10, 0x00, 0x00, 0x00,
	0x00, 0x00, 0x0e, 0x00, 0x18, 0x00, 0x14, 0x00, 0x13, 0x00, 0x0c, 0x00,
	0x08, 0x00, 0x04, 0x00, 0x0e, 0x00, 0x00, 0x00, 0x20, 0x00, 0x00, 0x00,
	0x40, 0x00, 0x00, 0x00, 0x02, 0x00, 0x00, 0x00, 0x00, 0x00, 0x00, 0x02,
	0x48, 0x00, 0x00, 0x00, 0x0c, 0x00, 0x0c, 0x00, 0x00, 0x00, 0x00, 0x00,
	0x08, 0x00, 0x04, 0x00, 0x0c, 0x00, 0x00, 0x00, 0x08, 0x00, 0x00, 0x00,
	0x14, 0x00, 0x00, 0x00, 0x01, 0x00, 0x00, 0x00, 0x00, 0x00, 0x00, 0x00,
	0x00, 0x00, 0x00, 0x00, 0x00, 0x00, 0x00, 0x00, 0x01, 0x00, 0x00, 0x00,
	0xf4, 0xd4, 0x51, 0x38, 0x0c, 0x00, 0x00, 0x00, 0x64, 0x65, 0x6e, 0x73,
	0x65, 0x5f, 0x34, 0x2f, 0x62, 0x69, 0x61, 0x73, 0x00, 0x00, 0x00, 0x00,
	0x01, 0x00, 0x00, 0x00, 0x01, 0x00, 0x00, 0x00, 0x14, 0x00, 0x1c, 0x00,
	0x18, 0x00, 0x17, 0x00, 0x10, 0x00, 0x0c, 0x00, 0x08, 0x00, 0x00, 0x00,
	0x00, 0x00, 0x04, 0x00, 0x14, 0x00, 0x00, 0x00, 0x18, 0x00, 0x00, 0x00,
	0x2c, 0x00, 0x00, 0x00, 0x64, 0x00, 0x00, 0x00, 0x01, 0x00, 0x00, 0x00,
	0x00, 0x00, 0x00, 0x09, 0x84, 0x00, 0x00, 0x00, 0x02, 0x00, 0x00, 0x00,
	0xff, 0xff, 0xff, 0xff, 0x01, 0x00, 0x00, 0x00, 0x0c, 0x00, 0x14, 0x00,
	0x10, 0x00, 0x0c, 0x00, 0x08, 0x00, 0x04, 0x00, 0x0c, 0x00, 0x00, 0x00,
	0x10, 0x00, 0x00, 0x00, 0x1c, 0x00, 0x00, 0x00, 0x20, 0x00, 0x00, 0x00,
	0x24, 0x00, 0x00, 0x00, 0x01, 0x00, 0x00, 0x00, 0x80, 0xff, 0xff, 0xff,
	0xff, 0xff, 0xff, 0xff, 0x00, 0x00, 0x00, 0x00, 0x01, 0x00, 0x00, 0x00,
	0x5d, 0x4f, 0xc9, 0x3c, 0x01, 0x00, 0x00, 0x00, 0x0e, 0x86, 0xc8, 0x40,
	0x01, 0x00, 0x00, 0x00, 0x00, 0x00, 0x00, 0x00, 0x24, 0x00, 0x00, 0x00,
	0x73, 0x65, 0x72, 0x76, 0x69, 0x6e, 0x67, 0x5f, 0x64, 0x65, 0x66, 0x61,
	0x75, 0x6c, 0x74, 0x5f, 0x64, 0x65, 0x6e, 0x73, 0x65, 0x5f, 0x32, 0x5f,
	0x69, 0x6e, 0x70, 0x75, 0x74, 0x3a, 0x30, 0x5f, 0x69, 0x6e, 0x74, 0x38,
	0x00, 0x00, 0x00, 0x00, 0x02, 0x00, 0x00, 0x00, 0x01, 0x00, 0x00, 0x00,
	0x01, 0x00, 0x00, 0x00, 0x03, 0x00, 0x00, 0x00, 0x40, 0x00, 0x00, 0x00,
	0x24, 0x00, 0x00, 0x00, 0x04, 0x00, 0x00, 0x00, 0xd8, 0xff, 0xff, 0xff,
	0x06, 0x00, 0x00, 0x00, 0x02, 0x00, 0x00, 0x00, 0x00, 0x00, 0x00, 0x06,
	0x0c, 0x00, 0x0c, 0x00, 0x0b, 0x00, 0x00, 0x00, 0x00, 0x00, 0x04, 0x00,
	0x0c, 0x00, 0x00, 0x00, 0x72, 0x00, 0x00, 0x00, 0x00, 0x00, 0x00, 0x72,
	0x0c, 0x00, 0x10, 0x00, 0x0f, 0x00, 0x00, 0x00, 0x08, 0x00, 0x04, 0x00,
	0x0c, 0x00, 0x00, 0x00, 0x09, 0x00, 0x00, 0x00, 0x04, 0x00, 0x00, 0x00,
	0x00, 0x00, 0x00, 0x09
};
const unsigned int g_model_len = 2488;
```

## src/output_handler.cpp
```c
/*
 * Copyright (c) 2024 ZephyrMLForge
 * SPDX-License-Identifier: Apache-2.0
 *
 * Output handler implementation for TFLite Micro inference.
 * Outputs structured metrics for the pipeline to parse.
 */

#include "output_handler.hpp"

#include <zephyr/kernel.h>
#include <zephyr/sys/printk.h>

void ReportMetrics(uint64_t average_ns, size_t arena_used, int num_runs, float last_output)
{
	/* Latency is formatted from integer nanoseconds rather than a float divide:
	 * a sub-microsecond inference truncates to 0 in the us field, and the host
	 * needs a figure that survives that. */
	uint32_t latency_us = static_cast<uint32_t>(average_ns / 1000U);
	uint32_t latency_ms_whole = static_cast<uint32_t>(average_ns / 1000000U);
	uint32_t latency_ms_fraction = static_cast<uint32_t>(average_ns % 1000000U);

	printk("METRICS_START\n");
	printk("latency_ns=%llu\n", average_ns);
	printk("latency_us=%u\n", latency_us);
	printk("latency_ms=%u.%06u\n", latency_ms_whole, latency_ms_fraction);
	printk("arena_used=%zu\n", arena_used);
	printk("num_runs=%d\n", num_runs);
	printk("output_val=%.6f\n", static_cast<double>(last_output));
	printk("METRICS_END\n");
	printk("Inference complete\n");
}

void ReportInference(const float *values, int count)
{
	printk("OUT=");
	for (int i = 0; i < count; i++) {
		printk("%s%.6f", i == 0 ? "" : ",", static_cast<double>(values[i]));
	}
	printk("\n");
}
```

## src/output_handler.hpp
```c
/*
 * Copyright (c) 2024 ZephyrMLForge
 * SPDX-License-Identifier: Apache-2.0
 *
 * Output handler declarations for TFLite Micro inference.
 * Based on TensorFlow Lite Micro hello_world sample structure.
 */

#ifndef ZEPHYR_ML_FORGE_OUTPUT_HANDLER_HPP_
#define ZEPHYR_ML_FORGE_OUTPUT_HANDLER_HPP_

#include <cstddef>
#include <cstdint>

/**
 * @brief Print the METRICS block the pipeline parses, followed by 'Inference complete'.
 * @param average_ns   Mean time for one Invoke() call, in nanoseconds.
 * @param arena_used   Bytes of the tensor arena the interpreter claimed.
 * @param num_runs     Inferences the average was taken over.
 * @param last_output  First element of the final output tensor, as a sanity value.
 */
void ReportMetrics(uint64_t average_ns, size_t arena_used, int num_runs, float last_output);

/**
 * @brief Print one 'OUT=' line answering an INFER request.
 * @param values  Dequantized output tensor elements.
 * @param count   Number of elements in values.
 */
void ReportInference(const float *values, int count);

#endif /* ZEPHYR_ML_FORGE_OUTPUT_HANDLER_HPP_ */
```

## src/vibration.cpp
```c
/*
 * Copyright (c) 2024 ZephyrMLForge
 * SPDX-License-Identifier: Apache-2.0
 *
 *  Accelerometer windows & motor control for the ML Vibro Sens Click.
 * Built only with vibration.overlay, which supplies the mlforge_accel node & the motor
 * pins.
 */

#include "vibration.h"

#if MLFORGE_VIBRATION

#include <zephyr/device.h>
#include <zephyr/drivers/gpio.h>
#include <zephyr/drivers/i2c.h>
#include <zephyr/drivers/sensor.h>
#include <zephyr/kernel.h>
#include <zephyr/sys/printk.h>

#include <cerrno>

namespace {

/*  FXLS8974 registers. The Zephyr driver's rate attribute writes
 * SENS_CONFIG3 without entering standby, & only accepts SENSOR_CHAN_ALL, & its init
 * sets +-2 g whatever the devicetree range, so both are set here directly. */
constexpr uint8_t kRegSensConfig1 = 0x15;
constexpr uint8_t kRegSensConfig3 = 0x17;
constexpr uint8_t kActiveMask = 0x01;
constexpr uint8_t kRangeMask = 0x06;
constexpr uint8_t kWakeOdrMask = 0xF0;
constexpr uint8_t kWakeOdr3200Hz = 0x00;

/*  The chip's fastest rate. Polled below it, each read returns the
 * newest conversion rather than one up to a period stale. */
constexpr int kSensorRateHz = 3200;

static_assert(MLFORGE_SAMPLE_RATE_HZ > 0 && MLFORGE_SAMPLE_RATE_HZ <= kSensorRateHz,
	      "MLFORGE_SAMPLE_RATE_HZ must be between 1 and 3200");

constexpr int kRangeG = DT_PROP(DT_NODELABEL(mlforge_accel), range);
constexpr uint8_t kRangeBits = kRangeG == 16 ? 0x06 : kRangeG == 8 ? 0x04 : kRangeG == 4 ? 0x02 : 0x00;

const struct device *const accel = DEVICE_DT_GET(DT_NODELABEL(mlforge_accel));
const struct i2c_dt_spec accel_bus = I2C_DT_SPEC_GET(DT_NODELABEL(mlforge_accel));
const struct gpio_dt_spec balanced_motor =
	GPIO_DT_SPEC_GET(DT_PATH(zephyr_user), balanced_motor_gpios);
const struct gpio_dt_spec unbalanced_motor =
	GPIO_DT_SPEC_GET(DT_PATH(zephyr_user), unbalanced_motor_gpios);

K_TIMER_DEFINE(sample_timer, NULL, NULL);

/**
 * @brief Set the FXLS8974's range & output rate; it is put in standby while they change.
 * @return 0, or the I2C transfer's negative errno.
 */
int configure_sensor(void)
{
	int ret = i2c_reg_update_byte_dt(&accel_bus, kRegSensConfig1, kActiveMask, 0);

	if (ret == 0) {
		ret = i2c_reg_update_byte_dt(&accel_bus, kRegSensConfig1, kRangeMask, kRangeBits);
	}
	if (ret == 0) {
		ret = i2c_reg_update_byte_dt(&accel_bus, kRegSensConfig3, kWakeOdrMask,
					     kWakeOdr3200Hz);
	}
	if (ret == 0) {
		ret = i2c_reg_update_byte_dt(&accel_bus, kRegSensConfig1, kActiveMask,
					     kActiveMask);
	}
	return ret;
}

}  /* namespace */

int vibration_init(void)
{
	if (!device_is_ready(accel)) {
		printk("SENSOR=error reason=accel_not_ready\n");
		return -ENODEV;
	}

	if (!gpio_is_ready_dt(&balanced_motor) || !gpio_is_ready_dt(&unbalanced_motor)) {
		printk("SENSOR=error reason=motor_gpio_not_ready\n");
		return -ENODEV;
	}

	int ret = gpio_pin_configure_dt(&balanced_motor, GPIO_OUTPUT_INACTIVE);

	if (ret == 0) {
		ret = gpio_pin_configure_dt(&unbalanced_motor, GPIO_OUTPUT_INACTIVE);
	}
	if (ret != 0) {
		printk("SENSOR=error reason=motor_gpio_configure err=%d\n", ret);
		return ret;
	}

	ret = configure_sensor();
	if (ret != 0) {
		printk("SENSOR=error reason=accel_configure err=%d\n", ret);
		return ret;
	}

	printk("sensor=fxls8974 sample_rate_hz=%d window_samples=%d range_g=%d\n",
	       MLFORGE_SAMPLE_RATE_HZ, MLFORGE_WINDOW_SAMPLES, kRangeG);
	return 0;
}

bool vibration_set_motors(int state)
{
	if (state < 0 || state > 2) {
		return false;
	}

	gpio_pin_set_dt(&balanced_motor, state == 1);
	gpio_pin_set_dt(&unbalanced_motor, state == 2);
	return true;
}

int vibration_capture(float *window, uint32_t *elapsed_us)
{
	const uint32_t period_us = 1000000U / MLFORGE_SAMPLE_RATE_HZ;
	float sums[MLFORGE_VIBRATION_AXES] = {};
	uint32_t missed_periods = 0;

	k_timer_start(&sample_timer, K_USEC(period_us), K_USEC(period_us));
	const int64_t start_ticks = k_uptime_ticks();

	for (int sample = 0; sample < MLFORGE_WINDOW_SAMPLES; sample++) {
		/*  A count above one means a read overran its period, & the
		 * window no longer has the spacing the model is trained on. */
		const uint32_t periods = k_timer_status_sync(&sample_timer);

		if (sample > 0 && periods > 1) {
			missed_periods += periods - 1;
		}

		struct sensor_value values[MLFORGE_VIBRATION_AXES];
		int ret = sensor_sample_fetch(accel);

		if (ret == 0) {
			ret = sensor_channel_get(accel, SENSOR_CHAN_ACCEL_XYZ, values);
		}
		if (ret != 0) {
			k_timer_stop(&sample_timer);
			return ret;
		}

		for (int axis = 0; axis < MLFORGE_VIBRATION_AXES; axis++) {
			const float value = sensor_value_to_float(&values[axis]);

			window[sample * MLFORGE_VIBRATION_AXES + axis] = value;
			sums[axis] += value;
		}
	}

	*elapsed_us = static_cast<uint32_t>(k_ticks_to_us_floor64(k_uptime_ticks() - start_ticks));
	k_timer_stop(&sample_timer);

	if (missed_periods > 0) {
		return -ETIME;
	}

	/*  Removes gravity & the sensor's offset, which depend on how the
	 * board lies rather than on which motor runs. */
	for (int axis = 0; axis < MLFORGE_VIBRATION_AXES; axis++) {
		const float mean = sums[axis] / MLFORGE_WINDOW_SAMPLES;

		for (int sample = 0; sample < MLFORGE_WINDOW_SAMPLES; sample++) {
			window[sample * MLFORGE_VIBRATION_AXES + axis] -= mean;
		}
	}

	return 0;
}

#endif /* MLFORGE_VIBRATION */
```

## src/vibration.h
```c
/*
 * Copyright (c) 2024 ZephyrMLForge
 * SPDX-License-Identifier: Apache-2.0
 *
 *  Accelerometer windows & motor control for the ML Vibro Sens Click.
 */

#ifndef ZEPHYR_ML_FORGE_VIBRATION_H_
#define ZEPHYR_ML_FORGE_VIBRATION_H_

#include "app_config.h"

#include <stdint.h>

/*  Three axes per sample, interleaved x, y, z, matching the host's
 * (samples, 1, 3) feature layout once flattened. */
#define MLFORGE_VIBRATION_AXES 3
#define MLFORGE_VIBRATION_VALUES (MLFORGE_WINDOW_SAMPLES * MLFORGE_VIBRATION_AXES)

/**
 * @brief Configure the accelerometer & the motor pins, both motors off.
 * @return 0, or a negative errno with the reason printed as SENSOR=error.
 */
int vibration_init(void);

/**
 * @brief Switch the motors; the two never run together.
 * @param state  0 both off, 1 balanced only, 2 unbalanced only.
 * @return false, with the motors unchanged, for any other state.
 */
bool vibration_set_motors(int state);

/**
 * @brief Record one window at MLFORGE_SAMPLE_RATE_HZ.
 * @param[out] window      Filled with MLFORGE_VIBRATION_VALUES readings in m/s^2,
 *                         interleaved x, y, z, each axis with its window mean removed.
 * @param[out] elapsed_us  Duration of the capture.
 * @return 0, -ETIME when a read overran its sample period, or the sensor's negative
 *         errno.
 */
int vibration_capture(float *window, uint32_t *elapsed_us);

#endif /* ZEPHYR_ML_FORGE_VIBRATION_H_ */
```
